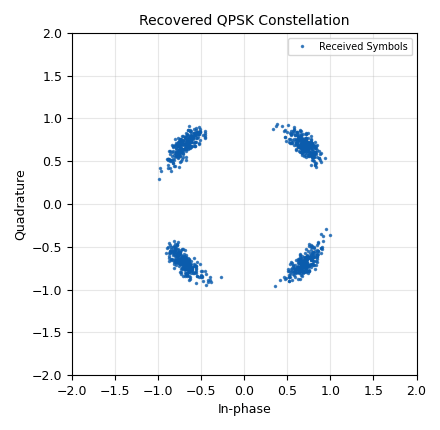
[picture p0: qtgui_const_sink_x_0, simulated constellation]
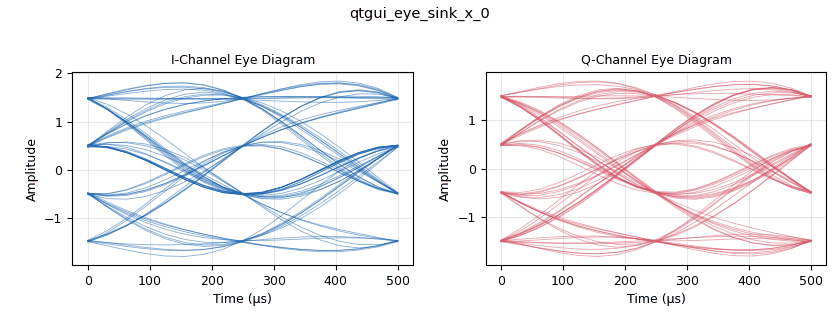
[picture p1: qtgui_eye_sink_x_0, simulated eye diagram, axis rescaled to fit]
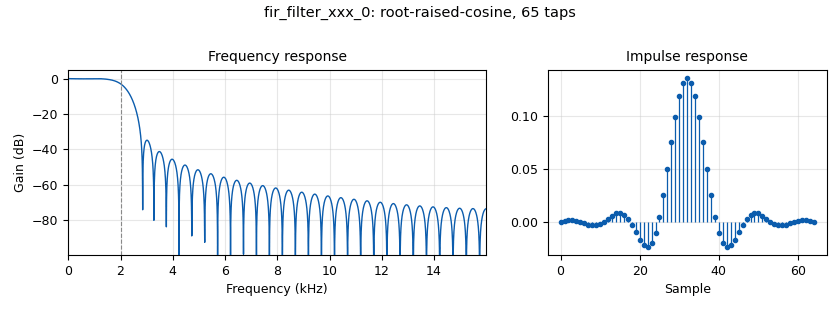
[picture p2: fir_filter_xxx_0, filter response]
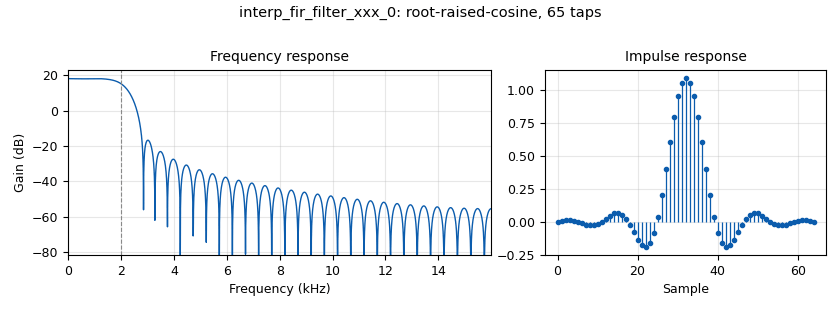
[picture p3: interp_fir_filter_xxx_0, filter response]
options:
  parameters:
    author: Dhrubjun
    generate_options: qt_gui
    id: exp3b
    output_language: python
    title: Multipath after equalization
  states: {}

blocks:
- name: alpha
  id: variable
  parameters:
    value: '0.35'
  states: {}
- name: echo_delay
  id: variable
  parameters:
    value: '8'
  states: {}
- name: echo_gain
  id: variable
  parameters:
    value: '0.5'
  states: {}
- name: lms
  id: variable_adaptive_algorithm
  parameters:
    cons: qpsk
    step_size: '0.005'
    type: lms
  states: {}
- name: loop_bw
  id: variable
  parameters:
    value: math.pi/100
  states: {}
- name: ntaps
  id: variable
  parameters:
    value: span * sps + 1
  states: {}
- name: qpsk
  id: variable_constellation_rect
  parameters:
    const_points: '[1+1j, -1+1j, -1-1j, 1-1j]'
    imag_sect: '2'
    real_sect: '2'
    rot_sym: '4'
    sym_map: '[0, 1, 2, 3]'
    w_imag_sect: '1'
    w_real_sect: '1'
  states: {}
- name: samp_rate
  id: variable
  parameters:
    value: '32000'
  states: {}
- name: span
  id: variable
  parameters:
    value: '8'
  states: {}
- name: sps
  id: variable
  parameters:
    value: int(samp_rate / symbol_rate)
  states: {}
- name: symbol_rate
  id: variable
  parameters:
    value: '4000'
  states: {}
- name: analog_random_source_x_0
  id: analog_random_source_x
  parameters:
    comment: Bits Generation
    max: '2'
    min: '0'
    num_samps: '1000'
    repeat: 'True'
    type: byte
  states: {}
- name: analog_random_source_x_0_0
  id: analog_random_source_x
  parameters:
    comment: Bits Generation
    max: '2'
    min: '0'
    num_samps: '1000'
    repeat: 'True'
    type: byte
  states: {}
- name: blocks_add_xx_0
  id: blocks_add_xx
  parameters:
    comment: Multipath Channel
    type: complex
  states: {}
- name: blocks_delay_0
  id: blocks_delay
  parameters:
    comment: Echo Delay
    delay: echo_delay
    type: complex
  states: {}
- name: blocks_float_to_complex_0
  id: blocks_float_to_complex
  parameters: {}
  states: {}
- name: blocks_multiply_const_vxx_0
  id: blocks_multiply_const_vxx
  parameters:
    comment: Echo Attenuation
    const: echo_gain
    type: complex
  states: {}
- name: blocks_throttle2_0
  id: blocks_throttle2
  parameters:
    samples_per_second: samp_rate
    type: complex
  states: {}
- name: digital_chunks_to_symbols_xx_0
  id: digital_chunks_to_symbols_xx
  parameters:
    dimension: '1'
    in_type: byte
    out_type: float
    symbol_table: '[-1,1]'
  states: {}
- name: digital_chunks_to_symbols_xx_0_0
  id: digital_chunks_to_symbols_xx
  parameters:
    dimension: '1'
    in_type: byte
    out_type: float
    symbol_table: '[-1,1]'
  states: {}
- name: digital_costas_loop_cc_0
  id: digital_costas_loop_cc
  parameters:
    comment: Carrier Recovery
    order: '4'
    w: loop_bw
  states: {}
- name: digital_linear_equalizer_0
  id: digital_linear_equalizer
  parameters:
    alg: lms
    comment: Channel Equalization
    num_taps: '5'
    sps: '1'
  states: {}
- name: digital_symbol_sync_xx_0
  id: digital_symbol_sync_xx
  parameters:
    comment: Timing Recovery
    damping: '1.0'
    loop_bw: '0.045'
    max_dev: '1.5'
    osps: '1'
    resamp_type: digital.IR_MMSE_8TAP
    sps: sps
    ted_gain: '1.0'
    ted_type: digital.TED_GARDNER
    type: cc
  states: {}
- name: fir_filter_xxx_0
  id: fir_filter_xxx
  parameters:
    comment: Matched Filtering
    decim: '1'
    taps: firdes.root_raised_cosine(1, samp_rate, symbol_rate, alpha, ntaps)
    type: ccf
  states: {}
- name: import_0
  id: import
  parameters:
    imports: import math
  states: {}
- name: interp_fir_filter_xxx_0
  id: interp_fir_filter_xxx
  parameters:
    comment: Pulse Shaping
    interp: sps
    taps: firdes.root_raised_cosine(sps, samp_rate, symbol_rate, alpha, ntaps)
    type: ccf
  states: {}
- name: qtgui_const_sink_x_0
  id: qtgui_const_sink_x
  parameters:
    comment: After Channel Equalization
    grid: 'True'
    label1: Received Symbols
    name: Recovered QPSK Constellation
    size: '1024'
    type: complex
  states: {}
- name: qtgui_eye_sink_x_0
  id: qtgui_eye_sink_x
  parameters:
    comment: Before Synchronization
    label1: I-Channel Eye Diagram
    label2: Q-Channel Eye Diagram
    samp_per_symbol: sps
    size: '1024'
    srate: samp_rate
    type: complex
  states: {}

connections:
- [analog_random_source_x_0, '0', digital_chunks_to_symbols_xx_0, '0']
- [analog_random_source_x_0_0, '0', digital_chunks_to_symbols_xx_0_0, '0']
- [blocks_add_xx_0, '0', fir_filter_xxx_0, '0']
- [blocks_delay_0, '0', blocks_multiply_const_vxx_0, '0']
- [blocks_float_to_complex_0, '0', interp_fir_filter_xxx_0, '0']
- [blocks_multiply_const_vxx_0, '0', blocks_add_xx_0, '1']
- [blocks_throttle2_0, '0', blocks_add_xx_0, '0']
- [blocks_throttle2_0, '0', blocks_delay_0, '0']
- [digital_chunks_to_symbols_xx_0, '0', blocks_float_to_complex_0, '0']
- [digital_chunks_to_symbols_xx_0_0, '0', blocks_float_to_complex_0, '1']
- [digital_costas_loop_cc_0, '0', digital_linear_equalizer_0, '0']
- [digital_linear_equalizer_0, '0', qtgui_const_sink_x_0, '0']
- [digital_symbol_sync_xx_0, '0', digital_costas_loop_cc_0, '0']
- [fir_filter_xxx_0, '0', digital_symbol_sync_xx_0, '0']
- [fir_filter_xxx_0, '0', qtgui_eye_sink_x_0, '0']
- [interp_fir_filter_xxx_0, '0', blocks_throttle2_0, '0']

metadata:
  file_format: 1
  grc_version: 3.10.12.0
